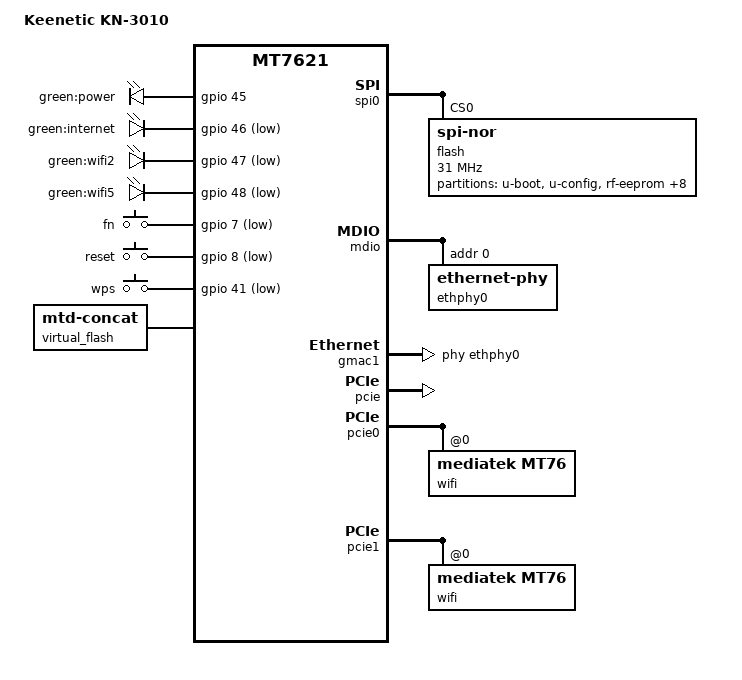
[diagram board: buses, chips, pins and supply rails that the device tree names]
// SPDX-License-Identifier: GPL-2.0-or-later OR MIT
#include "mt7621.dtsi"

#include <dt-bindings/gpio/gpio.h>
#include <dt-bindings/input/input.h>

/ {
	compatible = "keenetic,kn-3010", "mediatek,mt7621-soc";
	model = "Keenetic KN-3010";

	aliases {
		led-boot = &led_power;
		led-failsafe = &led_power;
		led-running = &led_power;
		led-upgrade = &led_power;
		label-mac-device = &gmac0;
	};

	chosen {
		bootargs = "console=ttyS0,115200";
	};

	leds {
		compatible = "gpio-leds";

		led_power: power {
			label = "green:power";
			gpios = <&gpio 45 GPIO_ACTIVE_HIGH>;
		};

		internet {
			label = "green:internet";
			gpios = <&gpio 46 GPIO_ACTIVE_LOW>;
		};

		wifi2 {
			label = "green:wifi2";
			gpios = <&gpio 47 GPIO_ACTIVE_LOW>;
			linux,default-trigger = "phy0tpt";
		};

		wifi5 {
			label = "green:wifi5";
			gpios = <&gpio 48 GPIO_ACTIVE_LOW>;
			linux,default-trigger = "phy1tpt";
		};
	};

	keys {
		compatible = "gpio-keys";

		fn {
			label = "fn";
			gpios = <&gpio 7 GPIO_ACTIVE_LOW>;
			linux,code = <BTN_0>;
		};

		reset {
			label = "reset";
			gpios = <&gpio 8 GPIO_ACTIVE_LOW>;
			linux,code = <KEY_RESTART>;
		};

		wps {
			label = "wps";
			gpios = <&gpio 41 GPIO_ACTIVE_LOW>;
			linux,code = <KEY_WPS_BUTTON>;
		};
	};

	virtual_flash {
		compatible = "mtd-concat";
		devices = <&firmware1 &firmware2>;

		partitions {
			compatible = "fixed-partitions";
			#address-cells = <1>;
			#size-cells = <1>;

			partition@0 {
				compatible = "denx,uimage";
				label = "firmware";
				reg = <0x0 0x1ec0000>;
			};
		};
	};
};

&state_default {
	gpio {
		groups = "uart3", "sdhci";
		function = "gpio";
	};
};

&xhci {
	status = "disabled";
};

&spi0 {
	status = "okay";

	flash@0 {
		compatible = "jedec,spi-nor";
		reg = <0>;
		spi-max-frequency = <31000000>;

		partitions: partitions {
			compatible = "fixed-partitions";
			#address-cells = <1>;
			#size-cells = <1>;

			partition@0 {
				label = "u-boot";
				reg = <0x0 0x30000>;
				read-only;
			};

			partition@30000 {
				label = "u-config";
				reg = <0x30000 0x10000>;
				read-only;
			};

			factory: partition@40000 {
				label = "rf-eeprom";
				reg = <0x40000 0x10000>;
				read-only;
			};

			firmware1: partition@50000 {
				label = "firmware_1";
				reg = <0x50000 0xf60000>;
			};

			partition@fb0000 {
				label = "config_1";
				reg = <0xfb0000 0x40000>;
				read-only;
			};

			partition@ff0000 {
				label = "dump";
				reg = <0xff0000 0x10000>;
				read-only;
			};

			partition@1000000 {
				label = "u-state";
				reg = <0x1000000 0x30000>;
				read-only;
			};

			partition@1030000 {
				label = "u-config_res";
				reg = <0x1030000 0x10000>;
				read-only;
			};

			partition@1040000 {
				label = "rf-eeprom_res";
				reg = <0x1040000 0x10000>;
				read-only;
			};

			firmware2: partition@1050000 {
				label = "firmware_2";
				reg = <0x1050000 0xf60000>;
			};

			partition@1fb0000 {
				label = "config_2";
				reg = <0x1fb0000 0x40000>;
				read-only;
			};
		};
	};
};

&mdio {
	ethphy0: ethernet-phy@0 {
		reg = <0>;
	};
};

&gmac0 {
	nvmem-cells = <&macaddr_factory_4>;
	nvmem-cell-names = "mac-address";
};

&gmac1 {
	status = "okay";
	label = "wan";
	phy-handle = <&ethphy0>;

	nvmem-cells = <&macaddr_factory_28>;
	nvmem-cell-names = "mac-address";
};

&switch0 {
	ports {
		port@1 {
			status = "okay";
			label = "lan1";
		};

		port@2 {
			status = "okay";
			label = "lan2";
		};

		port@3 {
			status = "okay";
			label = "lan3";
		};

		port@4 {
			status = "okay";
			label = "lan4";
		};
	};
};

&pcie {
	status = "okay";
};

&pcie0 {
	wifi@0,0 {
		compatible = "mediatek,mt76";
		reg = <0x0000 0 0 0 0>;
		mediatek,mtd-eeprom = <&factory 0x0000>;
		ieee80211-freq-limit = <2400000 2500000>;
	};
};

&pcie1 {
	wifi@0,0 {
		compatible = "mediatek,mt76";
		reg = <0x0000 0 0 0 0>;
		mediatek,mtd-eeprom = <&factory 0x0400>;
		ieee80211-freq-limit = <5000000 6000000>;
	};
};

&factory {
	compatible = "nvmem-cells";
	#address-cells = <1>;
	#size-cells = <1>;

	macaddr_factory_4: macaddr@4 {
		reg = <0x4 0x6>;
	};

	macaddr_factory_28: macaddr@28 {
		reg = <0x28 0x6>;
	};
};
